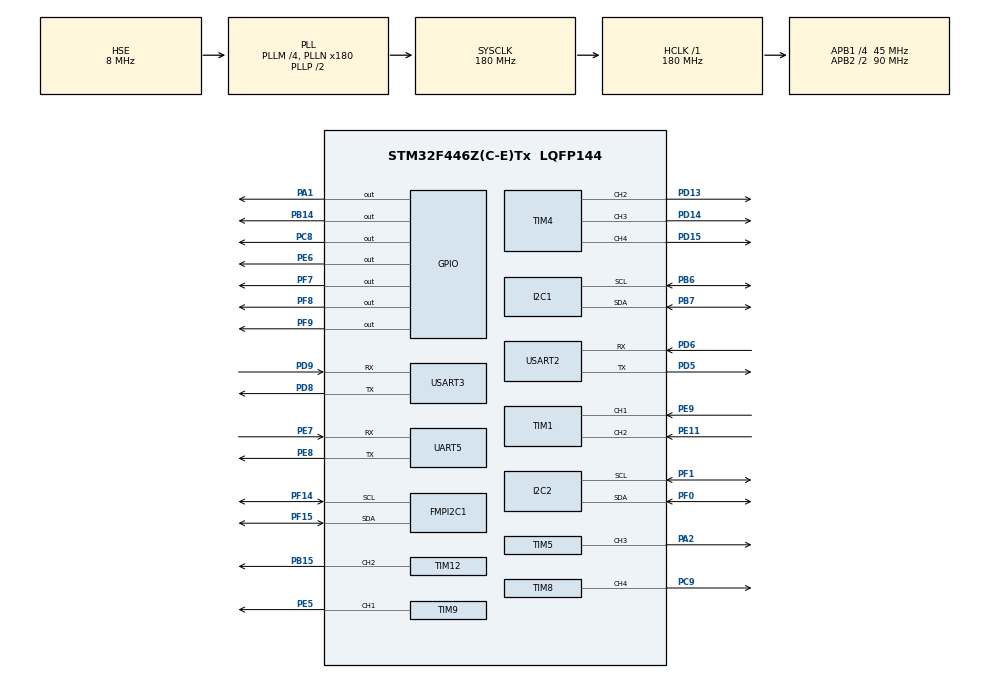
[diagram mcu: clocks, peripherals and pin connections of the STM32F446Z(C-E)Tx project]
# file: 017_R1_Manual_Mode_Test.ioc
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FMPI2C1.Timing=0xC0000E12
Mcu.Family=STM32F4
Mcu.Name=STM32F446Z(C-E)Tx
Mcu.Package=LQFP144
NVIC.PriorityGroup=NVIC_PRIORITYGROUP_4
NVIC.TIM7_IRQn=true\:0\:0\:false\:false\:true\:true\:true\:true
NVIC.USART2_IRQn=true\:0\:0\:false\:false\:true\:true\:true\:true
PA1.Signal=GPIO_Output
PA13.Mode=Serial_Wire
PA13.Signal=SYS_JTMS-SWDIO
PA14.Mode=Serial_Wire
PA14.Signal=SYS_JTCK-SWCLK
PA2.Signal=S_TIM5_CH3
PB14.Signal=GPIO_Output
PB15.Signal=S_TIM12_CH2
PB6.Mode=I2C
PB6.Signal=I2C1_SCL
PB7.Mode=I2C
PB7.Signal=I2C1_SDA
PC14-OSC32_IN.Mode=LSE-External-Oscillator
PC14-OSC32_IN.Signal=RCC_OSC32_IN
PC15-OSC32_OUT.Mode=LSE-External-Oscillator
PC15-OSC32_OUT.Signal=RCC_OSC32_OUT
PC8.Signal=GPIO_Output
PC9.Signal=S_TIM8_CH4
PD13.Signal=S_TIM4_CH2
PD14.Signal=S_TIM4_CH3
PD15.Signal=S_TIM4_CH4
PD5.Mode=Asynchronous
PD5.Signal=USART2_TX
PD6.Mode=Asynchronous
PD6.Signal=USART2_RX
PD8.Mode=Asynchronous
PD8.Signal=USART3_TX
PD9.Mode=Asynchronous
PD9.Signal=USART3_RX
PE11.Signal=S_TIM1_CH2
PE5.Signal=S_TIM9_CH1
PE6.Signal=GPIO_Output
PE7.Mode=Asynchronous
PE7.Signal=UART5_RX
PE8.Mode=Asynchronous
PE8.Signal=UART5_TX
PE9.Signal=S_TIM1_CH1
PF0.Mode=I2C
PF0.Signal=I2C2_SDA
PF1.Mode=I2C
PF1.Signal=I2C2_SCL
PF14.Mode=I2C
PF14.Signal=FMPI2C1_SCL
PF15.Mode=I2C
PF15.Signal=FMPI2C1_SDA
PF7.Signal=GPIO_Output
PF8.Signal=GPIO_Output
PF9.Signal=GPIO_Output
PH0-OSC_IN.Mode=HSE-External-Oscillator
PH0-OSC_IN.Signal=RCC_OSC_IN
PH1-OSC_OUT.Mode=HSE-External-Oscillator
PH1-OSC_OUT.Signal=RCC_OSC_OUT
ProjectManager.HeapSize=0x200
ProjectManager.StackSize=0x400
ProjectManager.TargetToolchain=STM32CubeIDE
RCC.48MHZClocksFreq_Value=24000000
RCC.AHBFreq_Value=180000000
RCC.APB1CLKDivider=RCC_HCLK_DIV4
RCC.APB1Freq_Value=45000000
RCC.APB1TimFreq_Value=90000000
RCC.APB2CLKDivider=RCC_HCLK_DIV2
RCC.APB2Freq_Value=90000000
RCC.APB2TimFreq_Value=180000000
RCC.CortexFreq_Value=180000000
RCC.HCLKFreq_Value=180000000
RCC.HSE_VALUE=8000000
RCC.HSI_VALUE=16000000
RCC.PLLM=4
RCC.PLLMUL=RCC_PLL_MUL9
RCC.PLLN=180
RCC.PLLQ=7
RCC.PLLSourceVirtual=RCC_PLLSOURCE_HSE
RCC.PRESCALERUSB=RCC_USBCLKSOURCE_PLL_DIV1_5
RCC.SYSCLKFreq_VALUE=180000000
RCC.SYSCLKSource=RCC_SYSCLKSOURCE_PLLCLK
RCC.SYSCLKSourceVirtual=RCC_SYSCLKSOURCE_PLLCLK
RCC.USBFreq_Value=51428571.428571425
RCC.VCOOutputFreq_Value=360000000
SH.S_TIM12_CH2.0=TIM12_CH2,PWM Generation2 CH2
SH.S_TIM1_CH1.0=TIM1_CH1,Encoder_Interface
SH.S_TIM1_CH2.0=TIM1_CH2,Encoder_Interface
SH.S_TIM4_CH2.0=TIM4_CH2,PWM Generation2 CH2
SH.S_TIM4_CH3.0=TIM4_CH3,PWM Generation3 CH3
SH.S_TIM4_CH4.0=TIM4_CH4,PWM Generation4 CH4
SH.S_TIM5_CH3.0=TIM5_CH3,PWM Generation3 CH3
SH.S_TIM8_CH4.0=TIM8_CH4,PWM Generation4 CH4
SH.S_TIM9_CH1.0=TIM9_CH1,PWM Generation1 CH1
TIM12.Channel-PWM\ Generation2\ CH2=TIM_CHANNEL_2
TIM4.Channel-PWM\ Generation2\ CH2=TIM_CHANNEL_2
TIM4.Channel-PWM\ Generation3\ CH3=TIM_CHANNEL_3
TIM4.Channel-PWM\ Generation4\ CH4=TIM_CHANNEL_4
TIM5.Channel-PWM\ Generation3\ CH3=TIM_CHANNEL_3
TIM7.Period=99
TIM7.Prescaler=999
TIM8.Channel-PWM\ Generation4\ CH4=TIM_CHANNEL_4
TIM9.Channel-PWM\ Generation1\ CH1=TIM_CHANNEL_1
UART5.VirtualMode=Asynchronous
USART2.VirtualMode=VM_ASYNC
USART3.VirtualMode=VM_ASYNC
VP_TIM12_VS_ClockSourceINT.Mode=Internal
VP_TIM4_VS_ClockSourceINT.Mode=Internal
VP_TIM5_VS_ClockSourceINT.Mode=Internal
VP_TIM6_VS_ClockSourceINT.Mode=Enable_Timer
VP_TIM7_VS_ClockSourceINT.Mode=Enable_Timer
VP_TIM8_VS_ClockSourceINT.Mode=Internal
VP_TIM9_VS_ClockSourceINT.Mode=Internal
board=NUCLEO-F446ZE

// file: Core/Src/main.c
/* USER CODE BEGIN Header */
/**
  ******************************************************************************
  * @file           : main.c
  * @brief          : Main program body
  ******************************************************************************
  * @attention
  *
  * Copyright (c) 2026 STMicroelectronics.
  * All rights reserved.
  *
  * This software is licensed under terms that can be found in the LICENSE file
  * in the root directory of this software component.
  * If no LICENSE file comes with this software, it is provided AS-IS.
  *
  ******************************************************************************
  */
/* USER CODE END Header */
#include "main.h"

/* USER CODE BEGIN Includes */
#include<stdio.h>
#include<stdbool.h>
#include<stdint.h>
#include<string.h>
#include<math.h>

#include<Cytron.h>
#include"BNO055_STM32.h"
#include"OdriveS1.h"
#include"PCA9685.h"
#include"tfluna_uart.h"
#include "Encoderlib.h"
/* USER CODE END Includes */

/* USER CODE BEGIN PTD */
//----------------------------------------Lib objects-----------------------------------------------
PCA_t PCA;
Cytron m1, m2, m3, SM1, Belt, Turret, conveyer;
OdriveS1 M1;
encoder_instance Turr_enc;
TFLuna_Handle Kfsluna, Staffluna;
TFLuna_Data Kfsluna_Data , Staffluna_Data;

/* USER CODE END PTD */

FMPI2C_HandleTypeDef hfmpi2c1;

I2C_HandleTypeDef hi2c1;
I2C_HandleTypeDef hi2c2;

TIM_HandleTypeDef htim1;
TIM_HandleTypeDef htim4;
TIM_HandleTypeDef htim5;
TIM_HandleTypeDef htim6;
TIM_HandleTypeDef htim7;
TIM_HandleTypeDef htim8;
TIM_HandleTypeDef htim9;
TIM_HandleTypeDef htim12;

UART_HandleTypeDef huart5;
UART_HandleTypeDef huart2;
UART_HandleTypeDef huart3;

void SystemClock_Config(void);
static void MX_GPIO_Init(void);
static void MX_USART3_UART_Init(void);
static void MX_FMPI2C1_Init(void);
static void MX_I2C1_Init(void);
static void MX_I2C2_Init(void);
static void MX_TIM1_Init(void);
static void MX_TIM4_Init(void);
static void MX_TIM5_Init(void);
static void MX_TIM6_Init(void);
static void MX_TIM7_Init(void);
static void MX_TIM8_Init(void);
static void MX_TIM9_Init(void);
static void MX_TIM12_Init(void);
static void MX_UART5_Init(void);
static void MX_USART2_UART_Init(void);

/* USER CODE BEGIN 0 */

// ------------------ Turret Encoder Variables----------------------------*/
int16_t encoder_velocity;
int32_t encoder_position;
uint16_t timer_counter;
float Turret_AngleNow, Turret_Error, Turret_Output;
#define COUNTS_PER_REV  28000
#define COUNTS_PER_DEG  (14000.0f / 180.0f)

//------------------------------PS4 data receive variables over UART--------------------------

int8_t L_joystick_x = 0, L_joystick_y = 0, R_joystick_x = 0, R_joystick_y = 0,
		omega = 0;
bool right;
bool down;
bool up;
bool left;
bool square;
bool cross;
bool circle;
bool triangle;
bool PS, Touchpad, Options, Share, R3, L3, R1, L1;

bool square_prev = 0;
bool cross_prev = 0;
bool circle_prev = 0;
bool triangle_prev = 0;
bool PS_prev = 0;
bool Touchpad_prev = 0;
bool Options_prev = 0;
bool Share_prev = 0;
bool R3_prev = 0;
bool L3_prev = 0;

// Global flags — set by ISR, cleared by main
volatile bool square_clicked = false;
volatile bool triangle_clicked = false;
volatile bool circle_clicked = false;
volatile bool cross_clicked = false;
volatile bool PS_clicked = false;
volatile bool R3_clicked = false;
volatile bool L3_clicked = false;
volatile bool Touchpad_clicked = false;
volatile bool Options_clicked = false;
volatile bool Share_clicked = false;

// ... add others as needed

// Previous states — only used inside ISR now
static bool square_last = false;
static bool triangle_last = false;
static bool circle_last = false;
static bool cross_last = false;
static bool PS_last = false;
static bool R3_last = false;
static bool L3_last = false;
static bool Touchpad_last = false;
static bool Options_last = false;
static bool Share_last = false;

uint8_t ModeCount = 1;

uint8_t rxByte;
int8_t data[6];
uint8_t receiving = 0;
uint8_t index1 = 0;
uint8_t length = 0;

//----------------------------------Navigation variables--------------------------------------------

#define radius       1
#define length       1
#define MAX_PWM      140
#define DEADZONE     30

bool flag = false;
bool is_omega = false;
bool pid = true;

unsigned long t_start, t_end;
float dt;

//angular PID
float angular_kp = 3.75;
float angular_ki = 0;
float angular_kd = 0.15;
float angular_p, angular_i, angular_d;
float angular_error, prev_angular_error, change_in_angular_error;
float angular_correction;
float target_heading = 0;

//chassis eqn variables

int pwm1, pwm2, pwm3;

float bot_vel, theta;

//------------------------------------------IMU variables-----------------------------------

bool imu_connected = true;
float current_heading;
float heading_normalised;
volatile bool imu = false;

typedef struct {
	bool prevState;
	bool flag;
} ToggleButton;

/*----------------------------------------- Area 1 -------------------------------------------------*/

//StaffPicking
int8_t Count_Servo_Set1 = 0,Count_Servo_Set2 = 0 , Area1_height_count = 0;
int z , y;
ToggleButton StaffHeightToggle = { 0 };
int8_t Area1_StaffHeight = 10 , Area1_PWMOutputStaff = 0;
int Area1_StaffcurrentDistance , Area1_Stafferror;

/*----------------------------------------- Area 2 -------------------------------------------------*/
int8_t Count_Kfs_height = 0 , KfspickToggleflag = 0,LeadToggleflag = 0;
int8_t Count_turret_angle = 0 , Count_Turret = 0;
int kfs_currentDistance , kfs_error ,KFS_height_set = 30 ;
int8_t kfs_output;

/*----------------------------------------- Area 3 -------------------------------------------------*/
int8_t Area3_PWMOutputStaff = 0 , Area3_StaffCount = 0 , Area3_turret_Count = 0 , Gripper_Access_Count = 0,Area3_Count_Staff_height=0;
int Area3_StaffcurrentDistance , Area3_Stafferror;
bool heightflag1 , heightflag2 , heightflag3;
uint8_t Gripper_Access_Array[5]={0,1,2,3,4};

float radians(float angle) {
	return angle * 2 * 3.14 / 360.0;
}

float degrees(float angle) {
	return angle * 360.0 / (2 * 3.14);
}

float map(float x, float in_min, float in_max, float out_min, float out_max) {
	return (x - in_min) * (out_max - out_min) / (in_max - in_min) + out_min;
}

float constrain(float num, float min, float max) {

	if (num > max) {
		return max;
	}

	else if (num < min) {
		return min;
	}

	else {
		return num;
	}
}

void clearModeFlags(void) {
    square_clicked   = false;
    triangle_clicked = false;
    circle_clicked   = false;
    cross_clicked    = false;
    L3_clicked       = false;
    R3_clicked       = false;
    Touchpad_clicked = false;
	Share_clicked    = false;
	Options_clicked  = false;
}

float normalise_angle(float angle) {
	if (angle > 180.0) {
		angle -= 360.0;
	}
	if (angle < -180.0) {
		angle += 360.0;
	}
	return angle;
}

bool rotate(float angle) {
	update_encoder(&Turr_enc, &htim1);
	Turret_AngleNow = normalise_angle((360.0 / COUNTS_PER_REV) * Turr_enc.position);
	Turret_Error = normalise_angle(angle - Turret_AngleNow);
    if(Turret_Error > 0) Turret_Output = 80;
    else Turret_Output = -80;
//	Turret_Output = constrain(Turret_Error * 4, -80, 80);
//	RotateCytron(&Turret, Turret_Output);

	if (fabs(Turret_Error) < 1.5) {
		return true;
	} else {
		return false;
	}
	RotateCytron(&Turret, Turret_Output);
}

void get_angle() {

	bno055_vector_t v = bno055_getVectorEuler();
	current_heading = v.x;

}
void Area1(){

/*-------------------------------------------Staff Auto Height -------------------------------------------*/
	 TFLuna_ReadBlocking(&Staffluna, &Staffluna_Data);
	 Area1_StaffcurrentDistance = Staffluna_Data.distance_cm;
	    if(Options_clicked){
	    	Options_clicked = false;
		    Area1_height_count++;
		 }

		if (Area1_height_count == 1) {
			   Area1_StaffHeight = 35;
		}
		else if(Area1_height_count == 2){
			   Area1_StaffHeight = 50;
			   Area1_height_count = 0;
		   }

/*-------------------------------------------Staff Gripper Set 1 -------------------------------------------*/
      if(triangle_clicked){
	    triangle_clicked = false;
	    Count_Servo_Set1++;
	 }
	  if(Count_Servo_Set1 == 1){
		  RotateServo(&PCA, 5, 0);
		  RotateServo(&PCA, 3, 0);

	  }
	  if(Count_Servo_Set1 == 2){
			//grip
		 RotateServo(&PCA, 5, 90);
		 RotateServo(&PCA, 3, 120);
		 Count_Servo_Set1 = 0;
	  }

/*-------------------------------------------Staff Gripper Set 2 -------------------------------------------*/
	if(circle_clicked){
	    circle_clicked = false;
	    Count_Servo_Set2++;
	}
	  if(Count_Servo_Set2 == 1){
				//grip
				RotateServo(&PCA, 4, 0);
				RotateServo(&PCA, 10, 0);
		  }

		  if(Count_Servo_Set2 == 2){
				 RotateServo(&PCA, 4, 90);
				 RotateServo(&PCA, 10, 90);

			  Count_Servo_Set2 = 0;
		   }

/*-------------------------------------------Manual Staff up/down -------------------------------------------*/
		  if (abs(R_joystick_y) > 50) {
		      // Manual override — update setpoint to current position
		      Area1_StaffHeight = Area1_StaffcurrentDistance;

		      if (R_joystick_y > 50)       RotateCytron(&SM1, 80);
		      else if (R_joystick_y < -50) RotateCytron(&SM1, -80);

		  } else {
		      // Auto height PID — only runs when joystick is idle
		      Area1_Stafferror = (float)(Area1_StaffHeight - Area1_StaffcurrentDistance);
		      if(Area1_Stafferror > 0){
		    	  Area1_PWMOutputStaff = 80;
		      }
		      else{
		    	  Area1_PWMOutputStaff = -80;
		      }
//		      Area1_PWMOutputStaff = 80; //constrain(9.0f * Area1_Stafferror, -80, 80);
		      if (abs(Area1_Stafferror) <= 2) Area1_PWMOutputStaff = 0;
		      RotateCytron(&SM1, Area1_PWMOutputStaff);
		  }

}

void Area2(){

	/*--------------------------------------Manual Conveyor Belt ---------------------------------------------------*/

	if (L1) {
			RotateCytron(&conveyer, 90);
		} else if (R1) {
			RotateCytron(&conveyer, -90);
		} else {
			RotateCytron(&conveyer, 0);
		}

	/*--------------------------------------Automated Kfs Belt ---------------------------------------------------*/
	TFLuna_ReadBlocking(&Kfsluna, &Kfsluna_Data);
	kfs_currentDistance = Kfsluna_Data.distance_cm;

	if(square_clicked){
		square_clicked = false;
		Count_Kfs_height++;
	}
		if(Count_Kfs_height == 1){
			KFS_height_set = 10;
		}

		else if(Count_Kfs_height == 2){
			KFS_height_set = 30;
		}

		else if(Count_Kfs_height == 3){
			KFS_height_set = 45;
			Count_Kfs_height = 0;
		}

if(up || down){
	KFS_height_set = kfs_currentDistance;

		if (up) {
			RotateCytron(&Belt, 120);
		}
		else if (down) {
			RotateCytron(&Belt, -120);
		}
		else {
			RotateCytron(&Belt, 0);
		}

}
 else{

	 kfs_error = KFS_height_set - kfs_currentDistance;

	 if(abs(kfs_error) <= 2){
	     kfs_output = 0;              // deadband — stop completely
	 }
	 else if(kfs_error > 0){
	     kfs_output = 120;             // too low, go up
	 }
	 else{
	     kfs_output = -120;            // too high, go down
	 }

	 RotateCytron(&Belt, kfs_output);
	}

/*--------------------------------------Turret ---------------------------------------------------*/
 if(cross_clicked){
 	  cross_clicked = false;
     Count_Turret++;
 }
    if(Count_Turret == 1){
 	   rotate(180);
    }

    if(Count_Turret == 2){
 	   rotate(120);

    }

    if(Count_Turret == 3){
 	   rotate(0);
 	   Count_Turret=0;
    }

/*--------------------------------------Kfs Gripping Servo---------------------------------------------------*/

	if(R3_clicked){
	    R3_clicked = false;
	    KfspickToggleflag++;
	}

	   if (KfspickToggleflag==1) {
           // UnGrip
		   RotateServo(&PCA, 8, 180);  // KFS Picking G2
		   RotateServo(&PCA, 1, 0);   // KFS Picking G1

	   } else if(KfspickToggleflag==2){
           // Grip
			RotateServo(&PCA, 8, 135); // KFS Picking G2
			RotateServo(&PCA, 1, 40); // KFS Picking G1
			KfspickToggleflag = 0;
	   }

 /*--------------------------------------Lead Screw ---------------------------------------------------*/

	if(Touchpad_clicked){
		Touchpad_clicked = false;
	   	    LeadToggleflag++;
	 }
	if(LeadToggleflag == 1){

	}
	if(LeadToggleflag == 2){
		LeadToggleflag = 0;
	}

}

void Area3(){
	/*--------------------------------------Manual Conveyor Belt ---------------------------------------------------*/

	if (L1) {
			RotateCytron(&conveyer, 90);
		} else if (R1) {
			RotateCytron(&conveyer, -90);
		} else {
			RotateCytron(&conveyer, 0);
		}

	/*-------------------------------------------Manual Staff up/down -------------------------------------------*/
		if (R_joystick_y > 50) {
			RotateCytron(&SM1, 80);
		} else if (R_joystick_y < -50) {
			RotateCytron(&SM1, -80);
		} else {
			Stop(&SM1);
		}

/*-------------------------------------------Manual KFS Pick -------------------------------------------*/

		if (up) {
				RotateCytron(&Belt, 120);
			}
			else if (down) {
				RotateCytron(&Belt, -120);
			}
			else {
				RotateCytron(&Belt, 0);
			}

/*-------------------------------------------Manual Turret -------------------------------------------*/

  /*-------------------------------------------Automated Staff Height for Attack -------------------------------------------*/

//		   TFLuna_ReadBlocking(&Staffluna, &Staffluna_Data);
//
//		   Area3_StaffcurrentDistance = Staffluna_Data.distance_cm;
//		if(circle_clicked){
//			circle_clicked = false;
//			Area3_StaffCount++;
//	    }
//
//				if(Area3_StaffCount == 1){
//					Area3_StaffHeight = 10;
//		            heightflag1 = true;
//				}
//
//				else if(Area3_StaffCount == 2){
//					Area3_StaffHeight = 20;
//		            heightflag2 = true;
//				}
//
//				else if(Area3_StaffCount == 3){
//					Area3_StaffHeight = 30;
//		            heightflag3 = true;
//					Area3_StaffCount = 0;
//				}
//
//			   Area3_Stafferror = (float) (Area3_StaffHeight - Area3_StaffcurrentDistance);
//			   Area3_PWMOutputStaff = constrain(15.0f * Area3_Stafferror, -90, 90);
//
//				if (abs(Area3_Stafferror) <= 2){
//					Area3_PWMOutputStaff = 0;
//                }
//				RotateCytron(&SM1, Area3_PWMOutputStaff);

/*-------------------------------------------Reset Gripper -------------------------------------------*/

		if (Options_clicked){
			Options_clicked = false;
			RotateServo(&PCA, 7, 94);			//150
			RotateServo(&PCA, 12, 94);
			RotateServo(&PCA, 2, 100);
			RotateServo(&PCA, 15, 90);
		}
/*-------------------------------------------Attacking Gripper Access -------------------------------------------*/
if (square_clicked){
	     square_clicked = false;
       Area3_Count_Staff_height++;
}

		if(Gripper_Access_Array[Area3_Count_Staff_height]==1){

            RotateServo(&PCA, 12, 155);

//			if(heightflag1){
//				RotateServo(&PCA, 12, 115);
//				heightflag1 = false;//110
//			}
//			if(heightflag2){
//				RotateServo(&PCA, 12, 115);			//110
//				heightflag2 = false;
//			}
//			if(heightflag3){
//				RotateServo(&PCA, 12, 115);			//110
//				heightflag3 = false;
//			}
		}

		if(Gripper_Access_Array[Area3_Count_Staff_height]==2){
            RotateServo(&PCA, 15, 155);

//			if(heightflag1){
//				RotateServo(&PCA, 7, 115);
//				heightflag1 = false;//110
//			}
//			if(heightflag2){
//				RotateServo(&PCA, 7, 115);			//110
//				heightflag2 = false;
//			}
//			if(heightflag3){
//				RotateServo(&PCA, 7, 115);			//110
//				heightflag3 = false;
//			}
		}

		if(Gripper_Access_Array[Area3_Count_Staff_height]==3){
            RotateServo(&PCA, 7, 155);
//			if(heightflag1){
//				RotateServo(&PCA, 7, 115);
//				heightflag1 = false;//110
//			}
//			if(heightflag2){
//				RotateServo(&PCA, 7, 115);			//110
//				heightflag2 = false;
//			}
//			if(heightflag3){
//				RotateServo(&PCA, 7, 115);			//110
//				heightflag3 = false;
//			}
		}

		if(Gripper_Access_Array[Area3_Count_Staff_height]==4){
            RotateServo(&PCA, 2, 155);
//			if(heightflag1){
//				RotateServo(&PCA, 7, 115);
//				heightflag1 = false;//110
//			}
//			if(heightflag2){
//				RotateServo(&PCA, 7, 115);			//110
//				heightflag2 = false;
//			}
//			if(heightflag3){
//				RotateServo(&PCA, 7, 115);			//110
//				heightflag3 = false;
//			}
        	if(Area3_Count_Staff_height == 4){
        		Area3_Count_Staff_height=0;
        		}
		}

  if(triangle_clicked){
	  triangle_clicked = false;

		if(Gripper_Access_Array[Gripper_Access_Count]==1){
			RotateServo(&PCA, 4, 0);
		}

		if(Gripper_Access_Array[Gripper_Access_Count]==2){
				RotateServo(&PCA, 5, 0);
		}

		if(Gripper_Access_Array[Gripper_Access_Count]==3){
				RotateServo(&PCA, 10, 10);
		}

		if(Gripper_Access_Array[Gripper_Access_Count]==4){
				RotateServo(&PCA, 3, 0);
		}

	}

 /*--------------------------------------Turret ---------------------------------------------------*/
  if(cross_clicked){
  	  cross_clicked = false;
      Count_Turret++;
  }
     if(Count_Turret == 1){
  	   rotate(180);
     }

     if(Count_Turret == 2){
  	   rotate(120);

     }

     if(Count_Turret == 3){
  	   rotate(0);
  	   Count_Turret=0;
     }

 /*--------------------------------------Lead Screw ---------------------------------------------------*/

 	if(Touchpad_clicked){
 		Touchpad_clicked = false;
 	   	    LeadToggleflag++;
 	 }
 	if(LeadToggleflag == 1){

 	}
 	if(LeadToggleflag == 2){
 		LeadToggleflag = 0;
 	}

}

void Navigation(){

			if (omega) {
				pid = false;
				flag = true;
			}

			if (!omega && flag) {
				flag = false;
				pid = true;
				target_heading = current_heading;
			}

			if (pid) {

				angular_error = normalise_angle(target_heading - current_heading);
				change_in_angular_error = angular_error - prev_angular_error;
				prev_angular_error = angular_error;

				angular_p = angular_error * angular_kp;

				angular_i = angular_i + (angular_error * (float) dt * angular_ki);
				angular_d = (change_in_angular_error / (float) dt) * angular_kd;

				if (fabs(angular_error) > 9.5 || fabs(angular_error) < 1) {
					angular_i = 0;
				}

				angular_correction = angular_p + angular_i + angular_d;

			}

 //find wheel velocity

			    bot_vel = sqrt(pow(L_joystick_x, 2) + pow(L_joystick_y, 2));

				theta = atan2(L_joystick_y, L_joystick_x);

				pwm1 = constrain(
						((bot_vel * cos(theta) - (length * omega)) / radius)
								+ angular_correction, -MAX_PWM, MAX_PWM) * 1.3;
				pwm2 = constrain(
						((sqrt(3) * bot_vel * sin(theta) - bot_vel * cos(theta)
								- 2 * length * omega) / (2 * radius)) + angular_correction,
						-MAX_PWM, MAX_PWM) * 1.3;
				pwm3 = constrain(
						(-1
								* ((bot_vel * cos(theta)
										+ sqrt(3) * bot_vel * sin(theta)
										+ 2 * length * omega) / (2 * radius)))
								+ angular_correction, -MAX_PWM, MAX_PWM) * 1.3;

        //rotate motor
			RotateCytron(&m1, pwm1);
			RotateCytron(&m2, pwm2);
			RotateCytron(&m3, pwm3);

}

/* USER CODE END 0 */

int main(void)
{

  /* MCU Configuration--------------------------------------------------------*/

  /* Reset of all peripherals, Initializes the Flash interface and the Systick. */

	HAL_Init();

  /* Configure the system clock */
  SystemClock_Config();

  /* Initialize all configured peripherals */
  MX_GPIO_Init();
  MX_USART3_UART_Init();
  MX_FMPI2C1_Init();
  MX_I2C1_Init();
  MX_I2C2_Init();
  MX_TIM1_Init();
  MX_TIM4_Init();
  MX_TIM5_Init();
  MX_TIM6_Init();
  MX_TIM7_Init();
  MX_TIM8_Init();
  MX_TIM9_Init();
  MX_TIM12_Init();
  MX_UART5_Init();
  MX_USART2_UART_Init();
  /* USER CODE BEGIN 2 */
	HAL_TIM_Encoder_Start(&htim1, TIM_CHANNEL_ALL);
	//--------------------------------------timer interrupt start------------------------
	HAL_TIM_Base_Start_IT(&htim7);
	HAL_TIM_Base_Start_IT(&htim6);

    InitCytron(&m1, &htim9, TIM_CHANNEL_1, GPIOE, GPIO_PIN_6, 0, 2, 20000);
  	InitCytron(&m2, &htim8, TIM_CHANNEL_4, GPIOC, GPIO_PIN_8, 0, 2, 20000);
  	InitCytron(&m3, &htim12, TIM_CHANNEL_2, GPIOB, GPIO_PIN_14, 0, 1, 20000);
  	InitCytron(&SM1, &htim4, TIM_CHANNEL_2, GPIOF, GPIO_PIN_9, 1, 1, 20000); // DIR PF9   PWM PC6
  	InitCytron(&Turret, &htim4, TIM_CHANNEL_4, GPIOF, GPIO_PIN_8, 1, 1, 20000); // DIR PF8   PWM PA1
  	InitCytron(&Belt, &htim5, TIM_CHANNEL_3, GPIOA, GPIO_PIN_1, 1, 1, 20000); // DIR PA1
  	InitCytron(&conveyer, &htim4, TIM_CHANNEL_3, GPIOF, GPIO_PIN_7, 1, 1,20000); // DIR PF7   PWM

  	//----------------------------------------------IMU init-	------------------------------------------------
  	bno055_assignI2C(&hfmpi2c1);
  	bno055_setup();
  	bno055_setOperationModeNDOF();

  	//---------------------------------------------PCA init----------------------------------------------------
  	InitPCA(&PCA, &hi2c2, 50);
  	HAL_UART_Receive_IT(&huart2, &rxByte, 1);

	//---------------------------------- tf luna init -------------------------------------------------------------
  	TFLuna_Init(&Kfsluna, &huart5);
  	TFLuna_SetFrameRate(&Kfsluna, 250); //Set upto 0 - 250 Hz (But lower the freq more Accurate the Output)

  	TFLuna_Init(&Staffluna, &huart3);
  	TFLuna_SetFrameRate(&Staffluna, 250); //Set upto 0 - 250 Hz (But lower the freq more Accurate the Output)

//  	  HAL_Delay(100);   /* give the sensor time to apply the new setting */

  	//--------------------------------------servo init----------------------------------------------------------

  	RotateServo(&PCA, 7, 180);			//110
  	RotateServo(&PCA, 12, 180);
  	RotateServo(&PCA, 2, 180);
  	RotateServo(&PCA, 15, 180);

  	HAL_Delay(3000);

  	RotateServo(&PCA, 7, 115);			//110
  	RotateServo(&PCA, 12, 115);
  	RotateServo(&PCA, 2, 121);
  	RotateServo(&PCA, 15, 115);
  /* USER CODE END 2 */

  /* Infinite loop */
  while (1)
  {

    /* USER CODE BEGIN 3 */
	  t_start = HAL_GetTick();
	  dt = (t_start - t_end) / 1000.0;
	  t_end = t_start;
      if (imu) {
	  		  get_angle();
	  		  imu = false;
	  		}
////		Area2();
//
//	  if(PS && !PS_prev){
//        ModeCount++;
//	if(ModeCount == 1){
//			Area1();
//			Area2();
//		Navigation();
//	  }
//	else if(ModeCount == 2){
//		Area3();
//		Navigation();
//	    ModeCount= 0;
//	}
//  }
//	  PS_prev=PS;
//
//
//	  HAL_Delay(5);
	    t_start = HAL_GetTick();
	    dt = (t_start - t_end) / 1000.0;
	    t_end = t_start;
        Navigation();
	    if(PS_clicked){
	           PS_clicked = false;
	           ModeCount++;
	           if(ModeCount > 2) ModeCount = 1;
	           clearModeFlags();
	       }
	    // Continuous mode execution
	    if(ModeCount == 1){
	        Area1();
	        Area2();
	    }
	    else if(ModeCount == 2){
	        Area3();
	    }

	       PS_prev       = PS;
	       triangle_prev = triangle;
	       circle_prev   = circle;
	       cross_prev    = cross;
	       square_prev   = square;
	       Options_prev  = Options;
	       Share_prev    = Share;
	       Touchpad_prev = Touchpad;
	       R3_prev       = R3;
	       L3_prev       = L3;

	  HAL_Delay(5);

  }
  /* USER CODE END 3 */
}

void SystemClock_Config(void)
{
  RCC_OscInitTypeDef RCC_OscInitStruct = {0};
  RCC_ClkInitTypeDef RCC_ClkInitStruct = {0};

  /** Configure the main internal regulator output voltage
  */
  __HAL_RCC_PWR_CLK_ENABLE();
  __HAL_PWR_VOLTAGESCALING_CONFIG(PWR_REGULATOR_VOLTAGE_SCALE1);

  /** Initializes the RCC Oscillators according to the specified parameters
  * in the RCC_OscInitTypeDef structure.
  */
  RCC_OscInitStruct.OscillatorType = RCC_OSCILLATORTYPE_HSE;
  RCC_OscInitStruct.HSEState = RCC_HSE_ON;
  RCC_OscInitStruct.PLL.PLLState = RCC_PLL_ON;
  RCC_OscInitStruct.PLL.PLLSource = RCC_PLLSOURCE_HSE;
  RCC_OscInitStruct.PLL.PLLM = 4;
  RCC_OscInitStruct.PLL.PLLN = 180;
  RCC_OscInitStruct.PLL.PLLP = RCC_PLLP_DIV2;
  RCC_OscInitStruct.PLL.PLLQ = 7;
  RCC_OscInitStruct.PLL.PLLR = 2;
  if (HAL_RCC_OscConfig(&RCC_OscInitStruct) != HAL_OK)
  {
    Error_Handler();
  }

  /** Activate the Over-Drive mode
  */
  if (HAL_PWREx_EnableOverDrive() != HAL_OK)
  {
    Error_Handler();
  }

  /** Initializes the CPU, AHB and APB buses clocks
  */
  RCC_ClkInitStruct.ClockType = RCC_CLOCKTYPE_HCLK|RCC_CLOCKTYPE_SYSCLK
                              |RCC_CLOCKTYPE_PCLK1|RCC_CLOCKTYPE_PCLK2;
  RCC_ClkInitStruct.SYSCLKSource = RCC_SYSCLKSOURCE_PLLCLK;
  RCC_ClkInitStruct.AHBCLKDivider = RCC_SYSCLK_DIV1;
  RCC_ClkInitStruct.APB1CLKDivider = RCC_HCLK_DIV4;
  RCC_ClkInitStruct.APB2CLKDivider = RCC_HCLK_DIV2;

  if (HAL_RCC_ClockConfig(&RCC_ClkInitStruct, FLASH_LATENCY_5) != HAL_OK)
  {
    Error_Handler();
  }
}

static void MX_FMPI2C1_Init(void)
{

  hfmpi2c1.Instance = FMPI2C1;
  hfmpi2c1.Init.Timing = 0xC0000E12;
  hfmpi2c1.Init.OwnAddress1 = 0;
  hfmpi2c1.Init.AddressingMode = FMPI2C_ADDRESSINGMODE_7BIT;
  hfmpi2c1.Init.DualAddressMode = FMPI2C_DUALADDRESS_DISABLE;
  hfmpi2c1.Init.OwnAddress2 = 0;
  hfmpi2c1.Init.OwnAddress2Masks = FMPI2C_OA2_NOMASK;
  hfmpi2c1.Init.GeneralCallMode = FMPI2C_GENERALCALL_DISABLE;
  hfmpi2c1.Init.NoStretchMode = FMPI2C_NOSTRETCH_DISABLE;
  if (HAL_FMPI2C_Init(&hfmpi2c1) != HAL_OK)
  {
    Error_Handler();
  }

  /** Configure Analogue filter
  */
  if (HAL_FMPI2CEx_ConfigAnalogFilter(&hfmpi2c1, FMPI2C_ANALOGFILTER_ENABLE) != HAL_OK)
  {
    Error_Handler();
  }

}

static void MX_I2C1_Init(void)
{

  hi2c1.Instance = I2C1;
  hi2c1.Init.ClockSpeed = 100000;
  hi2c1.Init.DutyCycle = I2C_DUTYCYCLE_2;
  hi2c1.Init.OwnAddress1 = 0;
  hi2c1.Init.AddressingMode = I2C_ADDRESSINGMODE_7BIT;
  hi2c1.Init.DualAddressMode = I2C_DUALADDRESS_DISABLE;
  hi2c1.Init.OwnAddress2 = 0;
  hi2c1.Init.GeneralCallMode = I2C_GENERALCALL_DISABLE;
  hi2c1.Init.NoStretchMode = I2C_NOSTRETCH_DISABLE;
  if (HAL_I2C_Init(&hi2c1) != HAL_OK)
  {
    Error_Handler();
  }

}

static void MX_I2C2_Init(void)
{

  hi2c2.Instance = I2C2;
  hi2c2.Init.ClockSpeed = 100000;
  hi2c2.Init.DutyCycle = I2C_DUTYCYCLE_2;
  hi2c2.Init.OwnAddress1 = 0;
  hi2c2.Init.AddressingMode = I2C_ADDRESSINGMODE_7BIT;
  hi2c2.Init.DualAddressMode = I2C_DUALADDRESS_DISABLE;
  hi2c2.Init.OwnAddress2 = 0;
  hi2c2.Init.GeneralCallMode = I2C_GENERALCALL_DISABLE;
  hi2c2.Init.NoStretchMode = I2C_NOSTRETCH_DISABLE;
  if (HAL_I2C_Init(&hi2c2) != HAL_OK)
  {
    Error_Handler();
  }

}

static void MX_TIM1_Init(void)
{

  TIM_Encoder_InitTypeDef sConfig = {0};
  TIM_MasterConfigTypeDef sMasterConfig = {0};

  htim1.Instance = TIM1;
  htim1.Init.Prescaler = 0;
  htim1.Init.CounterMode = TIM_COUNTERMODE_UP;
  htim1.Init.Period = 65535;
  htim1.Init.ClockDivision = TIM_CLOCKDIVISION_DIV1;
  htim1.Init.RepetitionCounter = 0;
  htim1.Init.AutoReloadPreload = TIM_AUTORELOAD_PRELOAD_DISABLE;
  sConfig.EncoderMode = TIM_ENCODERMODE_TI1;
  sConfig.IC1Polarity = TIM_ICPOLARITY_RISING;
  sConfig.IC1Selection = TIM_ICSELECTION_DIRECTTI;
  sConfig.IC1Prescaler = TIM_ICPSC_DIV1;
  sConfig.IC1Filter = 0;
  sConfig.IC2Polarity = TIM_ICPOLARITY_RISING;
  sConfig.IC2Selection = TIM_ICSELECTION_DIRECTTI;
  sConfig.IC2Prescaler = TIM_ICPSC_DIV1;
  sConfig.IC2Filter = 0;
  if (HAL_TIM_Encoder_Init(&htim1, &sConfig) != HAL_OK)
  {
    Error_Handler();
  }
  sMasterConfig.MasterOutputTrigger = TIM_TRGO_RESET;
  sMasterConfig.MasterSlaveMode = TIM_MASTERSLAVEMODE_DISABLE;
  if (HAL_TIMEx_MasterConfigSynchronization(&htim1, &sMasterConfig) != HAL_OK)
  {
    Error_Handler();
  }

}

static void MX_TIM4_Init(void)
{

  TIM_ClockConfigTypeDef sClockSourceConfig = {0};
  TIM_MasterConfigTypeDef sMasterConfig = {0};
  TIM_OC_InitTypeDef sConfigOC = {0};

  htim4.Instance = TIM4;
  htim4.Init.Prescaler = 0;
  htim4.Init.CounterMode = TIM_COUNTERMODE_UP;
  htim4.Init.Period = 65535;
  htim4.Init.ClockDivision = TIM_CLOCKDIVISION_DIV1;
  htim4.Init.AutoReloadPreload = TIM_AUTORELOAD_PRELOAD_DISABLE;
  if (HAL_TIM_Base_Init(&htim4) != HAL_OK)
  {
    Error_Handler();
  }
  sClockSourceConfig.ClockSource = TIM_CLOCKSOURCE_INTERNAL;
  if (HAL_TIM_ConfigClockSource(&htim4, &sClockSourceConfig) != HAL_OK)
  {
    Error_Handler();
  }
  if (HAL_TIM_PWM_Init(&htim4) != HAL_OK)
  {
    Error_Handler();
  }
  sMasterConfig.MasterOutputTrigger = TIM_TRGO_RESET;
  sMasterConfig.MasterSlaveMode = TIM_MASTERSLAVEMODE_DISABLE;
  if (HAL_TIMEx_MasterConfigSynchronization(&htim4, &sMasterConfig) != HAL_OK)
  {
    Error_Handler();
  }
  sConfigOC.OCMode = TIM_OCMODE_PWM1;
  sConfigOC.Pulse = 0;
  sConfigOC.OCPolarity = TIM_OCPOLARITY_HIGH;
  sConfigOC.OCFastMode = TIM_OCFAST_DISABLE;
  if (HAL_TIM_PWM_ConfigChannel(&htim4, &sConfigOC, TIM_CHANNEL_2) != HAL_OK)
  {
    Error_Handler();
  }
  if (HAL_TIM_PWM_ConfigChannel(&htim4, &sConfigOC, TIM_CHANNEL_3) != HAL_OK)
  {
    Error_Handler();
  }
  if (HAL_TIM_PWM_ConfigChannel(&htim4, &sConfigOC, TIM_CHANNEL_4) != HAL_OK)
  {
    Error_Handler();
  }
  HAL_TIM_MspPostInit(&htim4);

}

static void MX_TIM5_Init(void)
{

  TIM_ClockConfigTypeDef sClockSourceConfig = {0};
  TIM_MasterConfigTypeDef sMasterConfig = {0};
  TIM_OC_InitTypeDef sConfigOC = {0};

  htim5.Instance = TIM5;
  htim5.Init.Prescaler = 0;
  htim5.Init.CounterMode = TIM_COUNTERMODE_UP;
  htim5.Init.Period = 4294967295;
  htim5.Init.ClockDivision = TIM_CLOCKDIVISION_DIV1;
  htim5.Init.AutoReloadPreload = TIM_AUTORELOAD_PRELOAD_DISABLE;
  if (HAL_TIM_Base_Init(&htim5) != HAL_OK)
  {
    Error_Handler();
  }
  sClockSourceConfig.ClockSource = TIM_CLOCKSOURCE_INTERNAL;
  if (HAL_TIM_ConfigClockSource(&htim5, &sClockSourceConfig) != HAL_OK)
  {
    Error_Handler();
  }
  if (HAL_TIM_PWM_Init(&htim5) != HAL_OK)
  {
    Error_Handler();
  }
  sMasterConfig.MasterOutputTrigger = TIM_TRGO_RESET;
  sMasterConfig.MasterSlaveMode = TIM_MASTERSLAVEMODE_DISABLE;
  if (HAL_TIMEx_MasterConfigSynchronization(&htim5, &sMasterConfig) != HAL_OK)
  {
    Error_Handler();
  }
  sConfigOC.OCMode = TIM_OCMODE_PWM1;
  sConfigOC.Pulse = 0;
  sConfigOC.OCPolarity = TIM_OCPOLARITY_HIGH;
  sConfigOC.OCFastMode = TIM_OCFAST_DISABLE;
  if (HAL_TIM_PWM_ConfigChannel(&htim5, &sConfigOC, TIM_CHANNEL_3) != HAL_OK)
  {
    Error_Handler();
  }
  HAL_TIM_MspPostInit(&htim5);

}

static void MX_TIM6_Init(void)
{

  TIM_MasterConfigTypeDef sMasterConfig = {0};

  htim6.Instance = TIM6;
  htim6.Init.Prescaler = 0;
  htim6.Init.CounterMode = TIM_COUNTERMODE_UP;
  htim6.Init.Period = 65535;
  htim6.Init.AutoReloadPreload = TIM_AUTORELOAD_PRELOAD_DISABLE;
  if (HAL_TIM_Base_Init(&htim6) != HAL_OK)
  {
    Error_Handler();
  }
  sMasterConfig.MasterOutputTrigger = TIM_TRGO_RESET;
  sMasterConfig.MasterSlaveMode = TIM_MASTERSLAVEMODE_DISABLE;
  if (HAL_TIMEx_MasterConfigSynchronization(&htim6, &sMasterConfig) != HAL_OK)
  {
    Error_Handler();
  }

}

static void MX_TIM7_Init(void)
{

  TIM_MasterConfigTypeDef sMasterConfig = {0};

  htim7.Instance = TIM7;
  htim7.Init.Prescaler = 999;
  htim7.Init.CounterMode = TIM_COUNTERMODE_UP;
  htim7.Init.Period = 99;
  htim7.Init.AutoReloadPreload = TIM_AUTORELOAD_PRELOAD_DISABLE;
  if (HAL_TIM_Base_Init(&htim7) != HAL_OK)
  {
    Error_Handler();
  }
  sMasterConfig.MasterOutputTrigger = TIM_TRGO_RESET;
  sMasterConfig.MasterSlaveMode = TIM_MASTERSLAVEMODE_DISABLE;
  if (HAL_TIMEx_MasterConfigSynchronization(&htim7, &sMasterConfig) != HAL_OK)
  {
    Error_Handler();
  }

}

static void MX_TIM8_Init(void)
{

  TIM_ClockConfigTypeDef sClockSourceConfig = {0};
  TIM_MasterConfigTypeDef sMasterConfig = {0};
  TIM_OC_InitTypeDef sConfigOC = {0};
  TIM_BreakDeadTimeConfigTypeDef sBreakDeadTimeConfig = {0};

  htim8.Instance = TIM8;
  htim8.Init.Prescaler = 0;
  htim8.Init.CounterMode = TIM_COUNTERMODE_UP;
  htim8.Init.Period = 65535;
  htim8.Init.ClockDivision = TIM_CLOCKDIVISION_DIV1;
  htim8.Init.RepetitionCounter = 0;
  htim8.Init.AutoReloadPreload = TIM_AUTORELOAD_PRELOAD_DISABLE;
  if (HAL_TIM_Base_Init(&htim8) != HAL_OK)
  {
    Error_Handler();
  }
  sClockSourceConfig.ClockSource = TIM_CLOCKSOURCE_INTERNAL;
  if (HAL_TIM_ConfigClockSource(&htim8, &sClockSourceConfig) != HAL_OK)
  {
    Error_Handler();
  }
  if (HAL_TIM_PWM_Init(&htim8) != HAL_OK)
  {
    Error_Handler();
  }
  sMasterConfig.MasterOutputTrigger = TIM_TRGO_RESET;
  sMasterConfig.MasterSlaveMode = TIM_MASTERSLAVEMODE_DISABLE;
  if (HAL_TIMEx_MasterConfigSynchronization(&htim8, &sMasterConfig) != HAL_OK)
  {
    Error_Handler();
  }
  sConfigOC.OCMode = TIM_OCMODE_PWM1;
  sConfigOC.Pulse = 0;
  sConfigOC.OCPolarity = TIM_OCPOLARITY_HIGH;
  sConfigOC.OCFastMode = TIM_OCFAST_DISABLE;
  sConfigOC.OCIdleState = TIM_OCIDLESTATE_RESET;
  sConfigOC.OCNIdleState = TIM_OCNIDLESTATE_RESET;
  if (HAL_TIM_PWM_ConfigChannel(&htim8, &sConfigOC, TIM_CHANNEL_4) != HAL_OK)
  {
    Error_Handler();
  }
  sBreakDeadTimeConfig.OffStateRunMode = TIM_OSSR_DISABLE;
  sBreakDeadTimeConfig.OffStateIDLEMode = TIM_OSSI_DISABLE;
  sBreakDeadTimeConfig.LockLevel = TIM_LOCKLEVEL_OFF;
  sBreakDeadTimeConfig.DeadTime = 0;
  sBreakDeadTimeConfig.BreakState = TIM_BREAK_DISABLE;
  sBreakDeadTimeConfig.BreakPolarity = TIM_BREAKPOLARITY_HIGH;
  sBreakDeadTimeConfig.AutomaticOutput = TIM_AUTOMATICOUTPUT_DISABLE;
  if (HAL_TIMEx_ConfigBreakDeadTime(&htim8, &sBreakDeadTimeConfig) != HAL_OK)
  {
    Error_Handler();
  }
  HAL_TIM_MspPostInit(&htim8);

}

static void MX_TIM9_Init(void)
{

  TIM_ClockConfigTypeDef sClockSourceConfig = {0};
  TIM_OC_InitTypeDef sConfigOC = {0};

  htim9.Instance = TIM9;
  htim9.Init.Prescaler = 0;
  htim9.Init.CounterMode = TIM_COUNTERMODE_UP;
  htim9.Init.Period = 65535;
  htim9.Init.ClockDivision = TIM_CLOCKDIVISION_DIV1;
  htim9.Init.AutoReloadPreload = TIM_AUTORELOAD_PRELOAD_DISABLE;
  if (HAL_TIM_Base_Init(&htim9) != HAL_OK)
  {
    Error_Handler();
  }
  sClockSourceConfig.ClockSource = TIM_CLOCKSOURCE_INTERNAL;
  if (HAL_TIM_ConfigClockSource(&htim9, &sClockSourceConfig) != HAL_OK)
  {
    Error_Handler();
  }
  if (HAL_TIM_PWM_Init(&htim9) != HAL_OK)
  {
    Error_Handler();
  }
  sConfigOC.OCMode = TIM_OCMODE_PWM1;
  sConfigOC.Pulse = 0;
  sConfigOC.OCPolarity = TIM_OCPOLARITY_HIGH;
  sConfigOC.OCFastMode = TIM_OCFAST_DISABLE;
  if (HAL_TIM_PWM_ConfigChannel(&htim9, &sConfigOC, TIM_CHANNEL_1) != HAL_OK)
  {
    Error_Handler();
  }
  HAL_TIM_MspPostInit(&htim9);

}

static void MX_TIM12_Init(void)
{

  TIM_ClockConfigTypeDef sClockSourceConfig = {0};
  TIM_OC_InitTypeDef sConfigOC = {0};

  htim12.Instance = TIM12;
  htim12.Init.Prescaler = 0;
  htim12.Init.CounterMode = TIM_COUNTERMODE_UP;
  htim12.Init.Period = 65535;
  htim12.Init.ClockDivision = TIM_CLOCKDIVISION_DIV1;
  htim12.Init.AutoReloadPreload = TIM_AUTORELOAD_PRELOAD_DISABLE;
  if (HAL_TIM_Base_Init(&htim12) != HAL_OK)
  {
    Error_Handler();
  }
  sClockSourceConfig.ClockSource = TIM_CLOCKSOURCE_INTERNAL;
  if (HAL_TIM_ConfigClockSource(&htim12, &sClockSourceConfig) != HAL_OK)
  {
    Error_Handler();
  }
  if (HAL_TIM_PWM_Init(&htim12) != HAL_OK)
  {
    Error_Handler();
  }
  sConfigOC.OCMode = TIM_OCMODE_PWM1;
  sConfigOC.Pulse = 0;
  sConfigOC.OCPolarity = TIM_OCPOLARITY_HIGH;
  sConfigOC.OCFastMode = TIM_OCFAST_DISABLE;
  if (HAL_TIM_PWM_ConfigChannel(&htim12, &sConfigOC, TIM_CHANNEL_2) != HAL_OK)
  {
    Error_Handler();
  }
  HAL_TIM_MspPostInit(&htim12);

}

static void MX_UART5_Init(void)
{

  huart5.Instance = UART5;
  huart5.Init.BaudRate = 115200;
  huart5.Init.WordLength = UART_WORDLENGTH_8B;
  huart5.Init.StopBits = UART_STOPBITS_1;
  huart5.Init.Parity = UART_PARITY_NONE;
  huart5.Init.Mode = UART_MODE_TX_RX;
  huart5.Init.HwFlowCtl = UART_HWCONTROL_NONE;
  huart5.Init.OverSampling = UART_OVERSAMPLING_16;
  if (HAL_UART_Init(&huart5) != HAL_OK)
  {
    Error_Handler();
  }

}

static void MX_USART2_UART_Init(void)
{

  huart2.Instance = USART2;
  huart2.Init.BaudRate = 115200;
  huart2.Init.WordLength = UART_WORDLENGTH_8B;
  huart2.Init.StopBits = UART_STOPBITS_1;
  huart2.Init.Parity = UART_PARITY_NONE;
  huart2.Init.Mode = UART_MODE_TX_RX;
  huart2.Init.HwFlowCtl = UART_HWCONTROL_NONE;
  huart2.Init.OverSampling = UART_OVERSAMPLING_16;
  if (HAL_UART_Init(&huart2) != HAL_OK)
  {
    Error_Handler();
  }

}

static void MX_USART3_UART_Init(void)
{

  huart3.Instance = USART3;
  huart3.Init.BaudRate = 115200;
  huart3.Init.WordLength = UART_WORDLENGTH_8B;
  huart3.Init.StopBits = UART_STOPBITS_1;
  huart3.Init.Parity = UART_PARITY_NONE;
  huart3.Init.Mode = UART_MODE_TX_RX;
  huart3.Init.HwFlowCtl = UART_HWCONTROL_NONE;
  huart3.Init.OverSampling = UART_OVERSAMPLING_16;
  if (HAL_UART_Init(&huart3) != HAL_OK)
  {
    Error_Handler();
  }

}

static void MX_GPIO_Init(void)
{
  GPIO_InitTypeDef GPIO_InitStruct = {0};

  /* GPIO Ports Clock Enable */
  __HAL_RCC_GPIOE_CLK_ENABLE();
  __HAL_RCC_GPIOC_CLK_ENABLE();
  __HAL_RCC_GPIOF_CLK_ENABLE();
  __HAL_RCC_GPIOH_CLK_ENABLE();
  __HAL_RCC_GPIOA_CLK_ENABLE();
  __HAL_RCC_GPIOB_CLK_ENABLE();
  __HAL_RCC_GPIOD_CLK_ENABLE();

  /*Configure GPIO pin Output Level */
  HAL_GPIO_WritePin(GPIOE, GPIO_PIN_6, GPIO_PIN_RESET);

  /*Configure GPIO pin Output Level */
  HAL_GPIO_WritePin(GPIOF, GPIO_PIN_7|GPIO_PIN_8|GPIO_PIN_9, GPIO_PIN_RESET);

  /*Configure GPIO pin Output Level */
  HAL_GPIO_WritePin(GPIOA, GPIO_PIN_1, GPIO_PIN_RESET);

  /*Configure GPIO pin Output Level */
  HAL_GPIO_WritePin(GPIOB, GPIO_PIN_14, GPIO_PIN_RESET);

  /*Configure GPIO pin Output Level */
  HAL_GPIO_WritePin(GPIOC, GPIO_PIN_8, GPIO_PIN_RESET);

  /*Configure GPIO pin : PE6 */
  GPIO_InitStruct.Pin = GPIO_PIN_6;
  GPIO_InitStruct.Mode = GPIO_MODE_OUTPUT_PP;
  GPIO_InitStruct.Pull = GPIO_NOPULL;
  GPIO_InitStruct.Speed = GPIO_SPEED_FREQ_LOW;
  HAL_GPIO_Init(GPIOE, &GPIO_InitStruct);

  /*Configure GPIO pins : PF7 PF8 PF9 */
  GPIO_InitStruct.Pin = GPIO_PIN_7|GPIO_PIN_8|GPIO_PIN_9;
  GPIO_InitStruct.Mode = GPIO_MODE_OUTPUT_PP;
  GPIO_InitStruct.Pull = GPIO_NOPULL;
  GPIO_InitStruct.Speed = GPIO_SPEED_FREQ_LOW;
  HAL_GPIO_Init(GPIOF, &GPIO_InitStruct);

  /*Configure GPIO pin : PA1 */
  GPIO_InitStruct.Pin = GPIO_PIN_1;
  GPIO_InitStruct.Mode = GPIO_MODE_OUTPUT_PP;
  GPIO_InitStruct.Pull = GPIO_NOPULL;
  GPIO_InitStruct.Speed = GPIO_SPEED_FREQ_LOW;
  HAL_GPIO_Init(GPIOA, &GPIO_InitStruct);

  /*Configure GPIO pin : PB14 */
  GPIO_InitStruct.Pin = GPIO_PIN_14;
  GPIO_InitStruct.Mode = GPIO_MODE_OUTPUT_PP;
  GPIO_InitStruct.Pull = GPIO_NOPULL;
  GPIO_InitStruct.Speed = GPIO_SPEED_FREQ_LOW;
  HAL_GPIO_Init(GPIOB, &GPIO_InitStruct);

  /*Configure GPIO pin : PC8 */
  GPIO_InitStruct.Pin = GPIO_PIN_8;
  GPIO_InitStruct.Mode = GPIO_MODE_OUTPUT_PP;
  GPIO_InitStruct.Pull = GPIO_NOPULL;
  GPIO_InitStruct.Speed = GPIO_SPEED_FREQ_LOW;
  HAL_GPIO_Init(GPIOC, &GPIO_InitStruct);

}

/* USER CODE BEGIN 4 */
/* USER CODE BEGIN 4 */
void HAL_UART_RxCpltCallback(UART_HandleTypeDef *huart)

{

    if(huart->Instance == USART2)

    {

        // START BYTE DETECTED

        if(rxByte == 0xAA)

        {

            receiving = 1;

            index1 = 0;

        }

        else if(receiving)

        {

            data[index1++] = rxByte;

            if(index1 >= 6)

            {
                receiving = 0;
            	uint8_t TempData1 = data[0];
            	uint8_t TempData2 = data[1];

            	up = ((TempData1 & (1 << 0)) ? 1 : 0);
            	right = ((TempData1 & (1 << 1)) ? 1 : 0);
            	down = ((TempData1 & (1 << 2)) ? 1 : 0);
            	left = ((TempData1 & (1 << 3)) ? 1 : 0);
            	triangle = ((TempData1 & (1 << 4)) ? 1 : 0);
            	circle = ((TempData1 & (1 << 5)) ? 1 : 0);
            	cross = ((TempData1 & (1 << 6)) ? 1 : 0);
            	square = ((TempData1 & (1 << 7)) ? 1 : 0);

            	L1 = ((TempData2 & (1 << 0)) ? 1 : 0);
            	R1 = ((TempData2 & (1 << 1)) ? 1 : 0);
            	L3 = ((TempData2 & (1 << 2)) ? 1 : 0);
            	R3 = ((TempData2 & (1 << 3)) ? 1 : 0);
            	Share = ((TempData2 & (1 << 4)) ? 1 : 0);
            	Options = ((TempData2 & (1 << 5)) ? 1 : 0);
            	Touchpad = ((TempData2 & (1 << 6)) ? 1 : 0);
            	PS = ((TempData2 & (1 << 7)) ? 1 : 0);

            	omega = -data[5];
            	 R_joystick_y = data[4];
            	//            	            		R_joystick_x = data[4];
            	 L_joystick_x = data[2];
            	 L_joystick_y = data[3];

            	 if (abs(L_joystick_x) < DEADZONE)
            		      L_joystick_x = 0;

            	 if (abs(L_joystick_y) < DEADZONE)
            		     L_joystick_y = 0;
            	 if (abs(omega) < 5)
            	 	omega = 0;
            	// After all the bit unpacking in the ISR:

            	// Detect rising edges and set click flags
            	if(square && !square_last)     square_clicked = true;
            	if(triangle && !triangle_last) triangle_clicked = true;
            	if(circle && !circle_last)     circle_clicked = true;
            	if(cross && !cross_last)       cross_clicked = true;
            	if(PS && !PS_last)             PS_clicked = true;
            	if(R3 && !R3_last)             R3_clicked = true;
            	if(L3 && !L3_last)             L3_clicked = true;
            	if(Touchpad && !Touchpad_last)       Touchpad_clicked = true;
            	if(Options && !Options_last)        Options_clicked = true;
            	if(Share && !Share_last)          Share_clicked = true;

            	// Update last states
            	square_last   = square;
            	triangle_last = triangle;
            	circle_last   = circle;
            	cross_last    = cross;
            	PS_last       = PS;
            	R3_last       = R3;
            	L3_last       = L3;
            	Touchpad_last = Touchpad;
            	Options_last  = Options;
            	Share_last    = Share;

            }

        }

        HAL_UART_Receive_IT(&huart2, &rxByte, 1);

    }

}

void HAL_TIM_PeriodElapsedCallback(TIM_HandleTypeDef *htim) {
	/* USER CODE BEGIN Callback 0 */

	/* USER CODE END Callback 0 */
	if (htim->Instance == TIM7) {
		imu = true;
	}

	/* USER CODE BEGIN Callback 1 */

	/* USER CODE END Callback 1 */
}
/* USER CODE END 4 */

void Error_Handler(void)
{
  __disable_irq();
  while (1)
  {
  }
}
